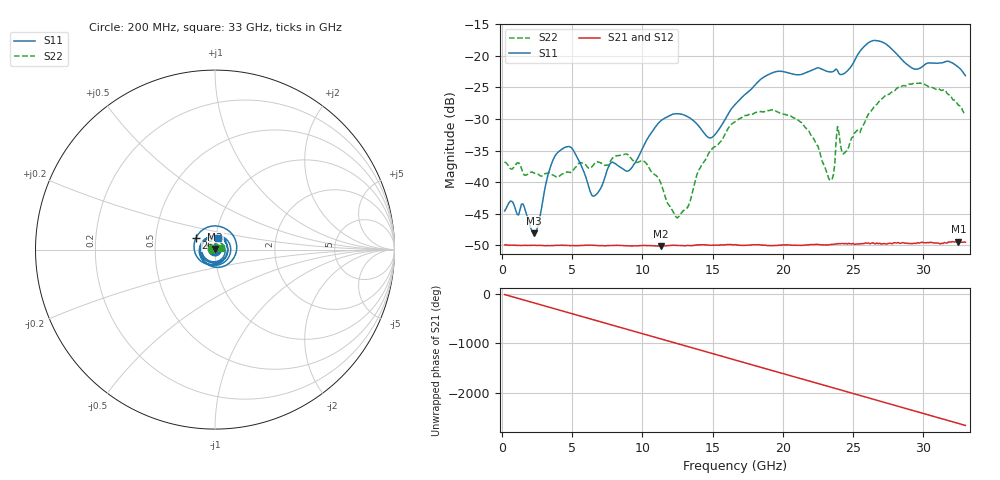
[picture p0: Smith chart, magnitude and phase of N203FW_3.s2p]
# GHZ S RI R 50
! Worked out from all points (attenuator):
!   329 points, 200 MHz to 33 GHz, reference 50 ohm
!   highest |S21| = -49.42 dB at 32.5 GHz (marker M1); lowest = -50.1 dB at 11.3 GHz (marker M2)
!   lowest |S11| = -48.1 dB at 2.3 GHz (marker M3), VSWR 1.01, Z = 50.2 + j0.363 ohm
!   |S11| at or under -10 dB: start of sweep to end of sweep
!   |S22| runs from -45.7 to -24.3 dB; largest |S21 - S12| = 8.8e-05
!   S11 on the Smith chart (normalised r, x): 200 MHz: 1.01, -0.00; 26 GHz: 0.80, +0.10; 33 GHz: 1.03, +0.14
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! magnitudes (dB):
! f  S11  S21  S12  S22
! 200 MHz  -44.6  -50.0  -49.9  -36.8
! 1.5 GHz  -43.5  -50.0  -50.0  -38.6
! 2.3 GHz  -48.1  -50.0  -50.0  -38.6
! 3.9 GHz  -35.5  -50.0  -50.0  -39.2
! 5.7 GHz  -37.6  -50.0  -50.0  -37.0
! 6.6 GHz  -42.2  -50.0  -50.0  -37.1
! 7.8 GHz  -36.9  -50.1  -50.0  -36.4
! 8.9 GHz  -38.3  -50.1  -50.1  -35.6
! 11.2 GHz  -30.6  -50.1  -50.1  -39.6
! 11.3 GHz  -30.3  -50.1  -50.1  -40.0
! 12.5 GHz  -29.2  -50.0  -50.0  -45.7
! 14.9 GHz  -33.0  -50.0  -50.0  -34.9
! 16.6 GHz  -27.7  -49.9  -49.9  -30.5
! 19.3 GHz  -22.7  -50.0  -50.0  -28.5
! 22.1 GHz  -22.3  -49.9  -49.9  -32.8
! 23.4 GHz  -22.6  -49.9  -49.9  -39.7
! 23.9 GHz  -22.3  -49.8  -49.8  -31.2
! 24.3 GHz  -22.9  -49.7  -49.7  -35.5
! 26 GHz  -18.1  -49.7  -49.6  -29.6
! 27.6 GHz  -18.6  -49.7  -49.7  -26.0
! 32.5 GHz  -21.8  -49.4  -49.4  -27.8
! 33 GHz  -23.2  -49.5  -49.6  -29.2
